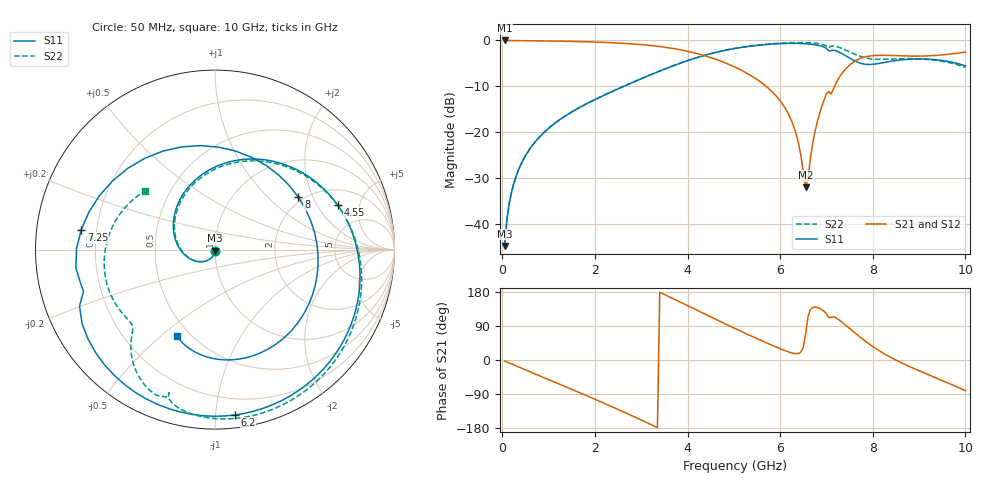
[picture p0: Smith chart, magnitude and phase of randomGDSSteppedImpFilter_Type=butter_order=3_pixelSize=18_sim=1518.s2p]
! freq	dB(S11)	phase(S11)	dB(S12)	phase(S12)
!  dB(S21)	phase(S21)	dB(S22)	phase(S22)
!S-par simulation data
#  GHz  S  DB  R 50
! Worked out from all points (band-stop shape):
!   200 points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, 50 MHz to 10 GHz, reference 50 ohm
!   highest |S21| = -0.01 dB at 50 MHz (marker M1); lowest = -32.1 dB at 6.55 GHz (marker M2)
!   |S21| within 3 dB of the highest: start of sweep to 4.256 GHz; 9.657 GHz to end of sweep
!   lowest |S11| = -44.9 dB at 50 MHz (marker M3), VSWR 1.01, Z = 50 - j0.568 ohm
!   |S11| at or under -10 dB: start of sweep to 2.627 GHz
!   |S22| runs from -44.9 to -0.5 dB; largest |S21 - S12| = 0
!   S11 on the Smith chart (normalised r, x): 50 MHz: 1.00, -0.01; 4.55 GHz: 2.91, +3.07; 6.2 GHz: 0.08, -1.12; 7.25 GHz: 0.14, +0.07; 8 GHz: 1.88, +1.57; 10 GHz: 0.42, -0.57
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0.05  -44.92 -89.4  -0.01 -2.6  -0.01 -2.6  -44.93 -89.2
0.2  -33.10 -99.7  -0.02 -10.3  -0.02 -10.3  -33.10 -99.9
0.5  -25.19 -115.8  -0.05 -25.7  -0.05 -25.7  -25.19 -116.3
1.15  -17.97 -149.4  -0.14 -59.1  -0.14 -59.1  -17.97 -150.7
1.75  -14.20 179.6  -0.28 -90.3  -0.28 -90.3  -14.20 177.5
2.7  -9.67 128.8  -0.69 -141.5  -0.69 -141.5  -9.67 125.7
3.4  -6.68 89.2  -1.34 178.8  -1.34 178.8  -6.68 85.9
4  -4.41 53.5  -2.37 143.4  -2.37 143.4  -4.41 51.0
4.55  -2.77 20.0  -3.91 110.7  -3.91 110.7  -2.75 19.3
5.05  -1.71 -10.4  -5.94 81.6  -5.94 81.6  -1.68 -8.5
5.6  -0.98 -44.0  -9.25 50.9  -9.25 50.9  -0.92 -37.3
6.2  -0.65 -83.1  -16.49 20.5  -16.49 20.5  -0.50 -67.0
6.4  -0.66 -98.0  -22.60 17.4  -22.60 17.4  -0.46 -76.8
6.55  -0.73 -110.2  -32.08 68.5  -32.08 68.5  -0.47 -84.3
6.7  -0.87 -123.7  -22.62 138.7  -22.62 138.7  -0.55 -91.9
7  -1.75 -157.4  -11.64 121.8  -11.64 121.8  -1.24 -107.5
7.25  -2.46 171.7  -8.51 107.8  -8.51 107.8  -1.44 -117.8
7.6  -4.41 108.1  -4.63 73.1  -4.63 73.1  -2.96 -131.2
8  -5.21 32.2  -3.32 35.6  -3.32 35.6  -4.07 -137.4
8.35  -4.62 -14.6  -3.27 9.4  -3.27 9.4  -4.09 -144.2
9.05  -4.04 -69.1  -3.42 -31.0  -3.42 -31.0  -4.05 -168.5
10  -5.56 -113.7  -2.55 -81.0  -2.55 -81.0  -5.89 139.8
